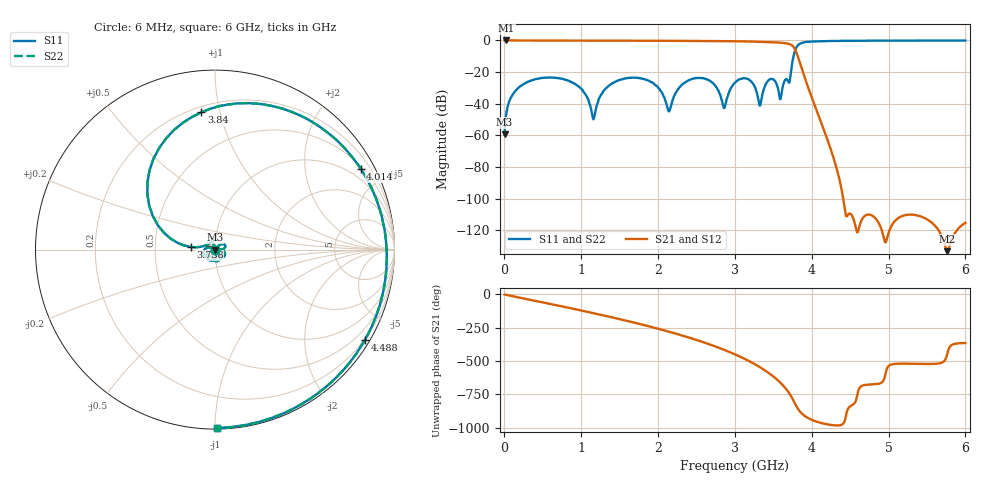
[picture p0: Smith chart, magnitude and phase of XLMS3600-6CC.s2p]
# MHZ S MA R 50
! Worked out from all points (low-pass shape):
!   1000 points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, 6 MHz to 6 GHz, reference 50 ohm
!   highest |S21| = 0.00 dB at 30 MHz (marker M1); lowest = -133.2 dB at 5.766 GHz (marker M2)
!   |S21| within 3 dB of the highest: start of sweep to 3.742 GHz
!   lowest |S11| = -59.4 dB at 6 MHz (marker M3), VSWR 1.00, Z = 50 - j0.107 ohm
!   |S11| at or under -10 dB: start of sweep to 3.764 GHz
!   |S22| runs from -59.4 to -0.1 dB; largest |S21 - S12| = 0
!   S11 on the Smith chart (normalised r, x): 6 MHz: 1.00, -0.00; 3.738 GHz: 0.76, +0.02; 3.84 GHz: 0.23, +0.88; 4.014 GHz: 0.58, +3.78; 4.488 GHz: 0.18, -3.59; 6 GHz: 0.01, -1.01
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6  0.001073 -88.7  1 -0.7  1 -0.7  0.001073 -88.7
30  0.005357 -91.5  1 -3.5  1 -3.5  0.005357 -91.5
360  0.055 -130.3  0.995 -42.5  0.995 -42.5  0.055 -130.3
1008  0.029 156.5  0.99 -121.0  0.99 -121.0  0.029 156.5
1164  0.003238 -131.5  0.988 -140.8  0.988 -140.8  0.003238 -131.5
1470  0.053 -91.8  0.983 179.0  0.983 179.0  0.053 -91.8
2004  0.032 -158.4  0.975 102.4  0.975 102.4  0.032 -158.4
2148  0.005778 -91.1  0.973 79.6  0.973 79.6  0.005779 -91.1
2574  0.065 -85.2  0.96 4.5  0.96 4.5  0.065 -85.2
2862  0.00724 -57.9  0.95 -56.0  0.95 -56.0  0.00724 -57.9
3006  0.047 -9.2  0.94 -90.9  0.94 -90.9  0.047 -9.2
3300  0.017 -60.1  0.915 -176.8  0.915 -176.8  0.017 -60.1
3516  0.055 9.4  0.876 97.2  0.876 97.2  0.055 9.4
3738  0.137 173.7  0.72 -49.6  0.72 -49.6  0.137 173.7
3840  0.769 95.7  0.224 -153.6  0.224 -153.6  0.769 95.7
4002  0.925 31.9  0.016 138.1  0.016 138.1  0.925 31.9
4014  0.928 29.0  0.013 135.2  0.013 135.2  0.928 29.0
4314  0.967 -15.8  0.0001121 96.4  0.0001121 96.4  0.967 -15.8
4488  0.975 -31.1  3.38e-06 -126.5  3.38e-06 -126.5  0.975 -31.1
5004  0.987 -60.1  8.768e-07 -175.7  8.768e-07 -175.7  0.987 -60.1
5766  0.993 -84.2  2.178e-07 -81.7  2.178e-07 -81.7  0.993 -84.2
6000  0.994 -89.5  1.732e-06 -4.9  1.732e-06 -4.9  0.994 -89.5
